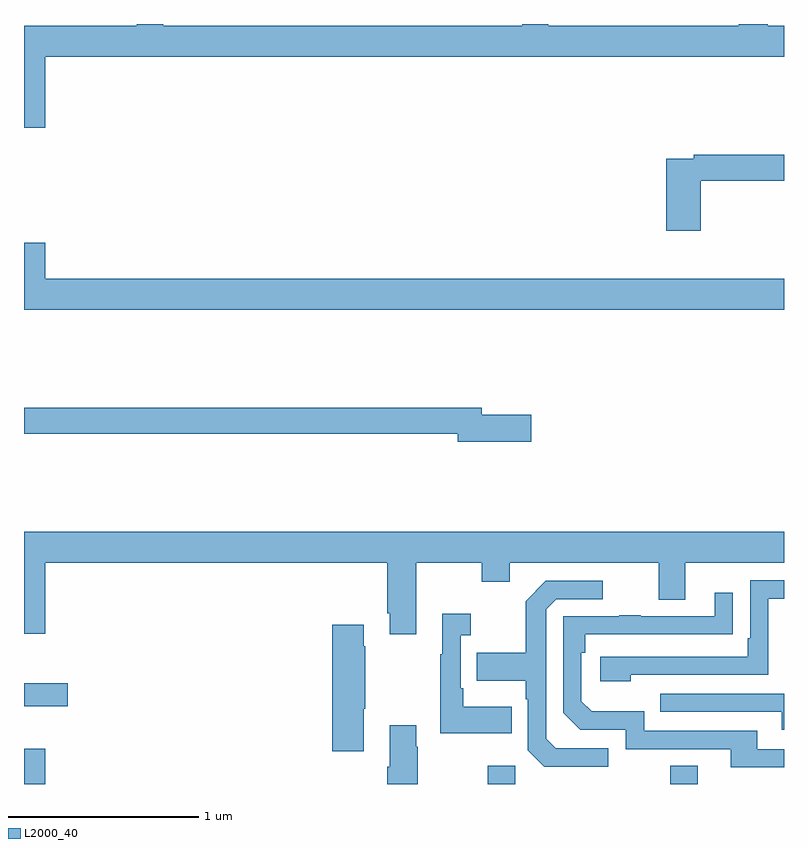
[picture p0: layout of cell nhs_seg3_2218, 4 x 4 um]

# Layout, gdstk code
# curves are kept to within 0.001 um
import gdstk
lib = gdstk.Library(unit=1e-6, precision=1e-09)
def R(c, l, rs):  # rectangles x0, y0, x1, y1
    for r in rs: c.add(gdstk.rectangle(r[:2], r[2:], *l))
def P(c, l, *ps):  # polygons
    for p in ps: c.add(gdstk.Polygon(p, *l))
L2000_40 = (2000, 40)

nhs_seg3_2218 = lib.new_cell('nhs_seg3_2218')
R(nhs_seg3_2218, L2000_40, [(225,718.4,225.112,718.585), (227.44,718.4,227.586,718.495), (228.4,718.4,228.547,718.495), (225,718.808,225.229,718.93)])
P(nhs_seg3_2218, L2000_40, [(225,721.854),(225.112,721.854),(225.112,722.228),(229,722.228),(229,722.392),(228.914,722.392),(228.914,722.4),(228.763,722.4),(228.763,722.392),(227.759,722.392),(227.759,722.4),(227.623,722.4),(227.623,722.392),(225.733,722.392),(225.733,722.4),(225.593,722.4),(225.593,722.392),(225,722.392)],
  [(228.563,721.576),(229,721.576),(229,721.712),(228.526,721.712),(228.526,721.692),(228.38,721.692),(228.38,721.311),(228.563,721.311)],
  [(229,721.06),(225.112,721.06),(225.112,721.249),(225,721.249),(225,720.896),(229,720.896)],
  [(227.671,720.344),(227.41,720.344),(227.41,720.38),(225,720.38),(225,720.244),(227.282,720.244),(227.282,720.202),(227.671,720.202)],
  [(227.065,719.564),(227.41,719.564),(227.41,719.465),(227.557,719.465),(227.557,719.564),(228.341,719.564),(228.341,719.37),(228.481,719.37),(228.481,719.564),(229,719.564),(229,719.728),(225,719.728),(225,719.19),(225.112,719.19),(225.112,719.564),(226.913,719.564),(226.913,719.299),(226.925,719.299),(226.925,719.187),(227.065,719.187)],
  [(228.194,718.974),(228.918,718.974),(228.918,719.376),(229,719.376),(229,719.472),(228.822,719.472),(228.822,719.167),(228.809,719.167),(228.809,719.07),(228.033,719.07),(228.033,718.94),(228.194,718.94)],
  [(228.076,718.587),(227.799,718.587),(227.748,718.638),(227.748,719.319),(227.802,719.373),(228.046,719.373),(228.046,719.469),(227.745,719.469),(227.64,719.363),(227.64,719.091),(227.383,719.091),(227.383,718.943),(227.64,718.943),(227.64,718.847),(227.652,718.847),(227.652,718.578),(227.739,718.491),(228.076,718.491)],
  [(229,718.584),(228.859,718.584),(228.859,718.68),(228.264,718.68),(228.264,718.783),(227.987,718.783),(227.934,718.836),(227.934,719.09),(227.954,719.09),(227.954,719.187),(228.731,719.188),(228.731,719.407),(228.635,719.407),(228.635,719.283),(228.245,719.283),(228.245,719.288),(228.133,719.288),(228.133,719.283),(227.838,719.283),(227.838,718.776),(227.928,718.686),(228.168,718.686),(228.168,718.584),(228.719,718.584),(228.719,718.488),(229,718.488)],
  [(227.567,718.807),(227.311,718.807),(227.311,718.903),(227.298,718.903),(227.298,719.183),(227.35,719.183),(227.35,719.296),(227.201,719.296),(227.201,719.083),(227.19,719.083),(227.19,718.667),(227.567,718.667)],
  [(226.789,718.795),(226.797,718.795),(226.797,719.126),(226.789,719.126),(226.789,719.239),(226.622,719.239),(226.622,718.572),(226.789,718.572)],
  [(229,718.875),(228.349,718.875),(228.349,718.779),(228.989,718.779),(228.989,718.685),(229,718.685)],
  [(227.073,718.595),(227.065,718.595),(227.065,718.708),(226.925,718.708),(226.925,718.492),(226.913,718.492),(226.913,718.4),(227.073,718.4)])

lib.write_gds('nhs_seg3_2218.gds')
